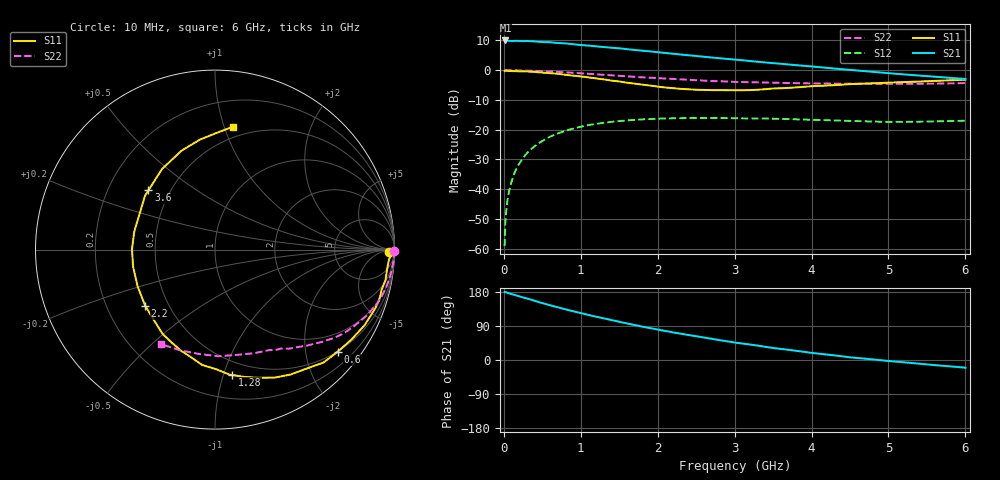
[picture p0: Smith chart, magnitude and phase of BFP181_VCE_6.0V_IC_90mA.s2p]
! Infineon Technologies  Discrete & RF Semiconductors
! BFP181
! VCE = 6.0 V,  IC =  90 mA
! Common Emitter S-Parameters:  Jan 2016
# GHz  S  MA  R  50
!  f  S11  S21  S12  S22
! GHz  MAG  ANG  MAG  ANG  MAG  ANG  MAG  ANG
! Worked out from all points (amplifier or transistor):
!   210 points, 10 MHz to 6 GHz, reference 50 ohm
!   highest |S21| = 10.0 dB at 20 MHz (marker M1)
!   |S21| within 3 dB of that: start of sweep to 1.623 GHz
!   unconditionally stable (mu >= 1): 3.192 GHz to end of sweep
!   at 185 MHz: K = 0.06, MSG = 21.0 dB, |S12| = -32.1 dB
!   at 1.52 GHz: K = 0.50, MSG = 12.2 dB, |S12| = -17.1 dB
!   at 6 GHz: K = 1.29, MAG = 3.8 dB, |S12| = -17.0 dB
!   S11 on the Smith chart (normalised r, x): 10 MHz: 50, -24; 600 MHz: 0.49, -2.68; 1.28 GHz: 0.38, -1.07; 2.2 GHz: 0.37, -0.31; 3.6 GHz: 0.38, +0.33; 6 GHz: 0.41, +1.07
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0.01  0.9678 -0.9  3.105 179.5  0.0011 79.7  0.9982 -0.3
0.02  0.9848 -1.6  3.158 179.3  0.0028 89.9  0.9975 -0.6
0.04  0.9754 -2.7  3.137 177.8  0.0055 88.1  0.9966 -1.3
0.07  0.9681 -4.7  3.109 175.8  0.0095 85.6  0.9964 -2.2
0.17  0.9606 -11.5  3.112 169.9  0.0229 82.0  0.9928 -5.4
0.3  0.9505 -20.2  3.099 162.6  0.0402 77.3  0.9846 -9.5
0.4  0.9344 -26.7  3.052 156.0  0.0527 72.1  0.9761 -12.6
0.6  0.8893 -39.8  2.949 144.5  0.0761 63.5  0.9516 -18.4
0.8  0.8358 -52.6  2.83 133.7  0.0956 55.5  0.92 -23.7
1.02  0.7802 -66.1  2.633 122.7  0.1134 47.5  0.8827 -29.1
1.28  0.7049 -82.3  2.459 110.5  0.1295 38.9  0.8403 -34.8
1.5  0.6468 -96.3  2.338 100.5  0.1391 32.8  0.8015 -39.0
1.8  0.5707 -115.2  2.129 87.9  0.1489 25.9  0.7585 -43.9
2.02  0.5249 -129.3  1.992 79.6  0.1537 21.1  0.7309 -47.3
2.2  0.4992 -141.2  1.885 72.7  0.1552 17.5  0.7081 -50.3
2.62  0.4649 -169.4  1.672 58.7  0.1565 10.8  0.6633 -56.3
3.1  0.4598 162.4  1.468 43.5  0.1549 4.5  0.6309 -63.3
3.6  0.4965 138.3  1.278 29.4  0.1517 -0.0  0.6121 -71.2
4.1  0.5436 120.1  1.123 16.6  0.1452 -3.0  0.5967 -80.4
4.5  0.5822 108.6  1.01 7.1  0.1402 -4.9  0.5944 -88.3
5.1  0.6239 95.9  0.868 -4.3  0.1352 -3.3  0.5878 -100.6
6  0.6925 81.5  0.711 -20.3  0.1415 -0.3  0.6066 -119.9
